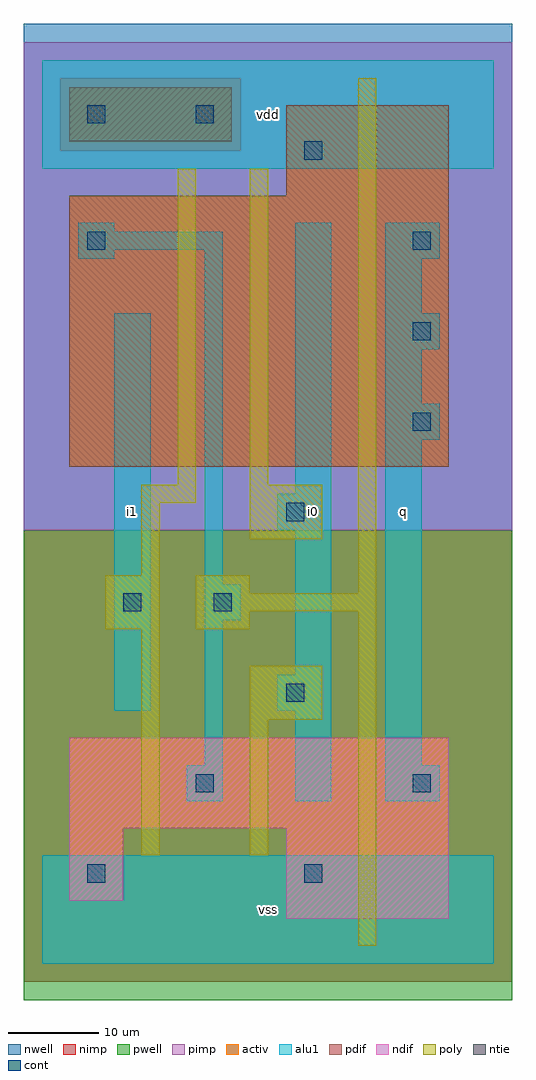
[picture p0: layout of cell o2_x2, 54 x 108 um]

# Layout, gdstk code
import gdstk
lib = gdstk.Library(unit=1e-6, precision=1e-09)
def R(c, l, rs):  # rectangles x0, y0, x1, y1
    for r in rs: c.add(gdstk.rectangle(r[:2], r[2:], *l))
def A(c, l, x, y, w, h, nx, ny, dx, dy):  # array of equal rectangles
    R(c, l, [(x+i*dx, y+j*dy, x+i*dx+w, y+j*dy+h) for i in range(nx) for j in range(ny)])
ndif = (3, 0)
pdif = (4, 0)
ntie = (5, 0)
cont = (25, 0)
pwell = (41, 0)
nwell = (42, 0)
activ = (43, 0)
pimp = (44, 0)
nimp = (45, 0)
poly = (46, 0)
alu1 = (49, 0)

o2_x2 = lib.new_cell('o2_x2')
R(o2_x2, ndif, [(27,5,45,15), (3,7,9,15), (3,15,45,25)])
R(o2_x2, pdif, [(3,55,45,85), (27,85,45,95)])
R(o2_x2, ntie, [(3,91,21,97)])
A(o2_x2, cont, 41, 59, 2, 2, 1, 3, 0, 10)
R(o2_x2, cont, [(5,9,7,11), (29,9,31,11), (17,19,19,21), (41,19,43,21), (27,29,29,31), (9,39,11,41), (19,39,21,41), (27,49,29,51), (5,79,7,81), (29,89,31,91), (5,93,7,95), (17,93,19,95)])
R(o2_x2, pwell, [(-2,-4,52,48)])
R(o2_x2, nwell, [(-2,48,52,104)])
R(o2_x2, activ, [(27,5,45,15), (3,7,9,15), (3,15,45,25), (3,55,45,85), (27,85,45,95), (3,91,21,97)])
R(o2_x2, pimp, [(-2,48,52,90), (-2,90,2,98), (22,90,52,98), (-2,98,52,102)])
R(o2_x2, nimp, [(-2,-2,52,48), (2,90,22,98)])
R(o2_x2, poly, [(35,2,37,39), (11,12,13,37), (23,12,25,27), (23,27,31,33), (7,37,13,43), (17,37,23,39), (17,39,37,41), (17,41,23,43), (35,41,37,98), (11,43,13,51), (23,47,31,53), (11,51,17,53), (15,53,17,88), (23,53,25,88)])
A(o2_x2, alu1, 38, 58, 6, 4, 1, 3, 0, 10)
R(o2_x2, alu1, [(0,0,50,12), (16,18,20,22), (28,18,32,28), (38,18,44,22), (18,22,20,38), (38,22,42,58), (8,28,12,72), (26,28,32,32), (28,32,32,48), (18,38,22,42), (18,42,20,79), (26,48,32,52), (28,52,32,82), (38,62,42,68), (38,72,42,78), (4,78,8,79), (4,79,20,81), (4,81,8,82), (0,88,50,100)])
o2_x2.add(gdstk.Label('i1', (10,50), layer=49, texttype=0))
o2_x2.add(gdstk.Label('vss', (25,6), layer=49, texttype=0))
o2_x2.add(gdstk.Label('i0', (30,50), layer=49, texttype=0))
o2_x2.add(gdstk.Label('vdd', (25,94), layer=49, texttype=0))
o2_x2.add(gdstk.Label('q', (40,50), layer=49, texttype=0))

lib.write_gds('o2_x2.gds')
